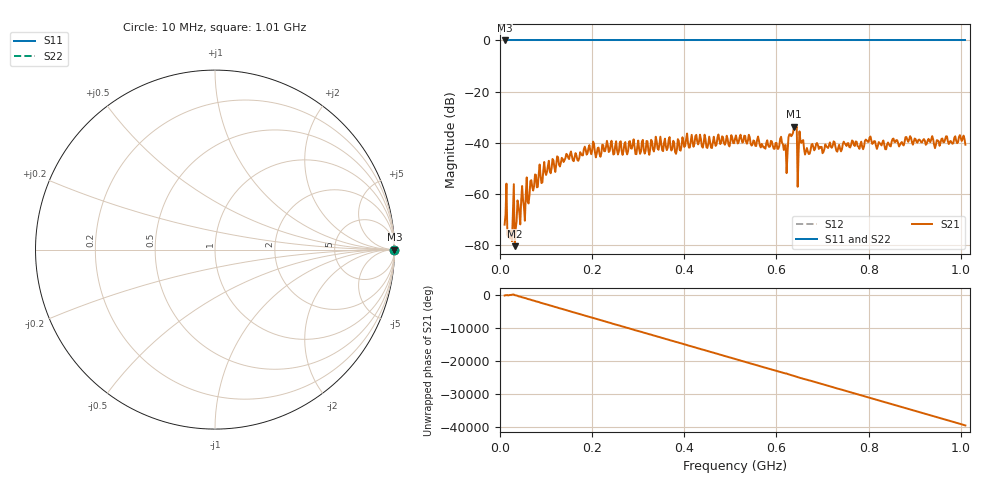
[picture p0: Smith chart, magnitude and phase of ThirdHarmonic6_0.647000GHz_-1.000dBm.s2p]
! 8/15/2025 9:27:35 PM
! C:\ANRITSUVNA\TEMP\TEMP.S2P
! CHANNEL.1
! TR.MEASUREMENT
! RAW.DATA
! RF.CORRECTION.OFF
! AVERAGING.OFF
! IF.BANDWIDTH: 5KHZ
! SWEEPTYPE:  FREQ.SWEEP(Linear)
! Reference Plane Port Info
! PORT:  PORT1  PORT2
! DISTANCE:  0  m  0  m
! TIME:  0  s  0  s
! PHASE.OFFSET:  0  deg.  0  deg.
! LOSS:  0  dB  0  dB
! REF.LOSS:  0  dB  0  dB
! REF.FREQ:  0  Hz  0  Hz
! Power Info
! POWER:  -20  dBm  -20  dBm
! EFF.POWER:  -20  dBm  -20  dBm
! SOURCE.ATTEN:  0  dB  0  dB
! TEST.ATTEN:  0  dB  0  dB
# GHZ S RI R 50.0
! FREQ.GHZ  S11RE  S11IM  S21RE  S21IM  S12RE  S12IM  S22RE  S22IM
!; PortSelection: Port_12
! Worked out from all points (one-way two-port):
!   501 points, 10 MHz to 1.01 GHz, reference 50 ohm
!   highest |S21| = -33.70 dB at 638 MHz (marker M1); lowest = -80.5 dB at 32 MHz (marker M2)
!   lowest |S11| = 0.0 dB at 10 MHz (marker M3)
!   |S11| at or under -10 dB: nowhere
!   |S22| runs from 0.0 to 0.0 dB; largest |S21 - S12| = 1
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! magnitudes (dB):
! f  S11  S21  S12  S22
! 10 MHz  0.0  -72.1  0.0  0.0
! 22 MHz  0.0  -77.5  0.0  0.0
! 26 MHz  0.0  -78.6  0.0  0.0
! 32 MHz  0.0  -80.5  0.0  0.0
! 70 MHz  0.0  -57.4  0.0  0.0
! 100 MHz  0.0  -52.7  0.0  0.0
! 178 MHz  0.0  -45.0  0.0  0.0
! 344 MHz  0.0  -42.8  0.0  0.0
! 510 MHz  0.0  -38.5  0.0  0.0
! 572 MHz  0.0  -41.9  0.0  0.0
! 610 MHz  0.0  -37.7  0.0  0.0
! 620 MHz  0.0  -40.9  0.0  0.0
! 638 MHz  0.0  -33.7  0.0  0.0
! 640 MHz  0.0  -34.0  0.0  0.0
! 650 MHz  0.0  -35.6  0.0  0.0
! 654 MHz  0.0  -40.1  0.0  0.0
! 666 MHz  0.0  -42.1  0.0  0.0
! 678 MHz  0.0  -40.5  0.0  0.0
! 784 MHz  0.0  -39.6  0.0  0.0
! 800 MHz  0.0  -39.7  0.0  0.0
! 844 MHz  0.0  -40.6  0.0  0.0
! 1.01 GHz  0.0  -40.8  0.0  0.0
